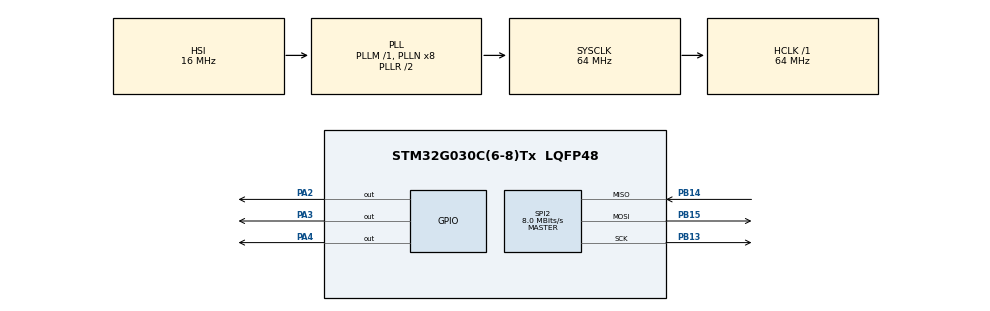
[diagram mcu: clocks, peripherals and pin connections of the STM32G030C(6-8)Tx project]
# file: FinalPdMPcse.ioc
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Mcu.Family=STM32G0
Mcu.Name=STM32G030C(6-8)Tx
Mcu.Package=LQFP48
PA2.Signal=GPIO_Output
PA3.Signal=GPIO_Output
PA4.Signal=GPIO_Output
PB13.Mode=Full_Duplex_Master
PB13.Signal=SPI2_SCK
PB14.Mode=Full_Duplex_Master
PB14.Signal=SPI2_MISO
PB15.Mode=Full_Duplex_Master
PB15.Signal=SPI2_MOSI
ProjectManager.HeapSize=0x200
ProjectManager.StackSize=0x400
ProjectManager.TargetToolchain=STM32CubeIDE
RCC.ADCFreq_Value=64000000
RCC.AHBFreq_Value=64000000
RCC.CortexFreq_Value=64000000
RCC.EXTERNAL_CLOCK_VALUE=12288000
RCC.HCLKFreq_Value=64000000
RCC.HSE_VALUE=8000000
RCC.HSI_VALUE=16000000
RCC.LSE_VALUE=32768
RCC.SYSCLKFreq_VALUE=64000000
RCC.SYSCLKSource=RCC_SYSCLKSOURCE_PLLCLK
RCC.VCOOutputFreq_Value=128000000
SPI2.BaudRatePrescaler=SPI_BAUDRATEPRESCALER_8
SPI2.CLKPolarity=SPI_POLARITY_LOW
SPI2.CalculateBaudRate=8.0 MBits/s
SPI2.Direction=SPI_DIRECTION_2LINES
SPI2.Mode=SPI_MODE_MASTER
SPI2.VirtualType=VM_MASTER
board=custom

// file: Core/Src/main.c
/* USER CODE BEGIN Header */
/**
  ******************************************************************************
  * @file           : main.c
  * @brief          : Main program body
  ******************************************************************************
  * @attention
  *
  * Copyright (c) 2023 STMicroelectronics.
  * All rights reserved.
  *
  * This software is licensed under terms that can be found in the LICENSE file
  * in the root directory of this software component.
  * If no LICENSE file comes with this software, it is provided AS-IS.
  *
  ******************************************************************************
  */
/* USER CODE END Header */
#include "main.h"

/* USER CODE BEGIN Includes */
#include "MCP3913.h"
#include "DELAY.h"

/* USER CODE END Includes */

/* USER CODE BEGIN PTD */

typedef enum{
  INIT_ADCS,
  ADQUIRE_SAMPLES_FROM_ONE_ADC,
  SWITCH_TO_NEXT_ADC,
  WAIT_FOR_RESTART,
} adc_fsm_state_t;

/* USER CODE END PTD */

/* USER CODE BEGIN PD */
#define MCP3913_ADC_QTY 3
#define ADC_FSM_RESTART_DELAY 1

/* USER CODE END PD */

/* USER CODE BEGIN PV */
static MCP3913_handle_t adc[MCP3913_ADC_QTY]; // Array de estructuras de configuracion de ADC MCP3913
static int32_t adc_values[MCP3913_ADC_QTY][MCP3913_ADC_CHANNELS_QTY]; // Matriz donde se guardaron los valores leidos.
static adc_fsm_state_t adc_fsm_state; // Variable que indica el estado de la MEF de adquisicion de ADCs
static uint8_t adc_being_adquired; // Variable que indica que ADC esta siendo adquirido
static delay_t adc_delay; // Variable para manejar el delay de la MEF de ADC

/* USER CODE END PV */

void SystemClock_Config(void);
static void MX_GPIO_Init(void);
static void MX_SPI2_Init(void);
/* USER CODE BEGIN PFP */
/*
 * @brief Inicializa la maquina de estados del manejo de los adc
 */
void ADC_FSM_Init();
/*
 * @brief Actualiza la maquina de estados del manejo de los adc
 */
void ADC_FSM_Update();

/* USER CODE END PFP */

int main(void)
{

  /* MCU Configuration--------------------------------------------------------*/

  /* Reset of all peripherals, Initializes the Flash interface and the Systick. */
  HAL_Init();

  /* Configure the system clock */
  SystemClock_Config();

  /* Initialize all configured peripherals */
  MX_GPIO_Init();
  MX_SPI2_Init();
  /* USER CODE BEGIN 2 */
  ADC_FSM_Init(); // Inicializo maquina de estados de ADC

  /* USER CODE END 2 */

  /* Infinite loop */
  while (1)
  {

    /* USER CODE BEGIN 3 */
    ADC_FSM_Update(); // Actualizo la maquina de estados de adquisicion
  }
  /* USER CODE END 3 */
}

void SystemClock_Config(void)
{
  RCC_OscInitTypeDef RCC_OscInitStruct = {0};
  RCC_ClkInitTypeDef RCC_ClkInitStruct = {0};

  /** Configure the main internal regulator output voltage
  */
  HAL_PWREx_ControlVoltageScaling(PWR_REGULATOR_VOLTAGE_SCALE1);

  /** Initializes the RCC Oscillators according to the specified parameters
  * in the RCC_OscInitTypeDef structure.
  */
  RCC_OscInitStruct.OscillatorType = RCC_OSCILLATORTYPE_HSI;
  RCC_OscInitStruct.HSIState = RCC_HSI_ON;
  RCC_OscInitStruct.HSIDiv = RCC_HSI_DIV1;
  RCC_OscInitStruct.HSICalibrationValue = RCC_HSICALIBRATION_DEFAULT;
  RCC_OscInitStruct.PLL.PLLState = RCC_PLL_ON;
  RCC_OscInitStruct.PLL.PLLSource = RCC_PLLSOURCE_HSI;
  RCC_OscInitStruct.PLL.PLLM = RCC_PLLM_DIV1;
  RCC_OscInitStruct.PLL.PLLN = 8;
  RCC_OscInitStruct.PLL.PLLP = RCC_PLLP_DIV2;
  RCC_OscInitStruct.PLL.PLLR = RCC_PLLR_DIV2;
  if (HAL_RCC_OscConfig(&RCC_OscInitStruct) != HAL_OK)
  {
    Error_Handler();
  }

  /** Initializes the CPU, AHB and APB buses clocks
  */
  RCC_ClkInitStruct.ClockType = RCC_CLOCKTYPE_HCLK|RCC_CLOCKTYPE_SYSCLK
                              |RCC_CLOCKTYPE_PCLK1;
  RCC_ClkInitStruct.SYSCLKSource = RCC_SYSCLKSOURCE_PLLCLK;
  RCC_ClkInitStruct.AHBCLKDivider = RCC_SYSCLK_DIV1;
  RCC_ClkInitStruct.APB1CLKDivider = RCC_HCLK_DIV1;

  if (HAL_RCC_ClockConfig(&RCC_ClkInitStruct, FLASH_LATENCY_2) != HAL_OK)
  {
    Error_Handler();
  }
}

static void MX_SPI2_Init(void)
{

  LL_SPI_InitTypeDef SPI_InitStruct = {0};

  LL_GPIO_InitTypeDef GPIO_InitStruct = {0};

  /* Peripheral clock enable */
  LL_APB1_GRP1_EnableClock(LL_APB1_GRP1_PERIPH_SPI2);

  LL_IOP_GRP1_EnableClock(LL_IOP_GRP1_PERIPH_GPIOB);
  /**SPI2 GPIO Configuration
  PB13   ------> SPI2_SCK
  PB14   ------> SPI2_MISO
  PB15   ------> SPI2_MOSI
  */
  GPIO_InitStruct.Pin = LL_GPIO_PIN_13;
  GPIO_InitStruct.Mode = LL_GPIO_MODE_ALTERNATE;
  GPIO_InitStruct.Speed = LL_GPIO_SPEED_FREQ_LOW;
  GPIO_InitStruct.OutputType = LL_GPIO_OUTPUT_PUSHPULL;
  GPIO_InitStruct.Pull = LL_GPIO_PULL_NO;
  GPIO_InitStruct.Alternate = LL_GPIO_AF_0;
  LL_GPIO_Init(GPIOB, &GPIO_InitStruct);

  GPIO_InitStruct.Pin = LL_GPIO_PIN_14;
  GPIO_InitStruct.Mode = LL_GPIO_MODE_ALTERNATE;
  GPIO_InitStruct.Speed = LL_GPIO_SPEED_FREQ_LOW;
  GPIO_InitStruct.OutputType = LL_GPIO_OUTPUT_PUSHPULL;
  GPIO_InitStruct.Pull = LL_GPIO_PULL_NO;
  GPIO_InitStruct.Alternate = LL_GPIO_AF_0;
  LL_GPIO_Init(GPIOB, &GPIO_InitStruct);

  GPIO_InitStruct.Pin = LL_GPIO_PIN_15;
  GPIO_InitStruct.Mode = LL_GPIO_MODE_ALTERNATE;
  GPIO_InitStruct.Speed = LL_GPIO_SPEED_FREQ_LOW;
  GPIO_InitStruct.OutputType = LL_GPIO_OUTPUT_PUSHPULL;
  GPIO_InitStruct.Pull = LL_GPIO_PULL_NO;
  GPIO_InitStruct.Alternate = LL_GPIO_AF_0;
  LL_GPIO_Init(GPIOB, &GPIO_InitStruct);

  /* SPI2 parameter configuration*/
  SPI_InitStruct.TransferDirection = LL_SPI_FULL_DUPLEX;
  SPI_InitStruct.Mode = LL_SPI_MODE_MASTER;
  SPI_InitStruct.DataWidth = LL_SPI_DATAWIDTH_8BIT;
  SPI_InitStruct.ClockPolarity = LL_SPI_POLARITY_LOW;
  SPI_InitStruct.ClockPhase = LL_SPI_PHASE_1EDGE;
  SPI_InitStruct.NSS = LL_SPI_NSS_SOFT;
  SPI_InitStruct.BaudRate = LL_SPI_BAUDRATEPRESCALER_DIV8;
  SPI_InitStruct.BitOrder = LL_SPI_MSB_FIRST;
  SPI_InitStruct.CRCCalculation = LL_SPI_CRCCALCULATION_DISABLE;
  SPI_InitStruct.CRCPoly = 7;
  LL_SPI_Init(SPI2, &SPI_InitStruct);
  LL_SPI_SetStandard(SPI2, LL_SPI_PROTOCOL_MOTOROLA);
  LL_SPI_EnableNSSPulseMgt(SPI2);
  /* USER CODE BEGIN SPI2_Init 2 */

  // Quater threshold for 1 byte / 8 bits
  LL_SPI_SetRxFIFOThreshold(SPI2, LL_SPI_RX_FIFO_TH_QUARTER);

  // Enable SPI
  LL_SPI_Enable(SPI2);

  // Wait until SPI is ready
  while(LL_SPI_IsActiveFlag_BSY(SPI2));

  /* USER CODE END SPI2_Init 2 */

}

static void MX_GPIO_Init(void)
{
  LL_GPIO_InitTypeDef GPIO_InitStruct = {0};

  /* GPIO Ports Clock Enable */
  LL_IOP_GRP1_EnableClock(LL_IOP_GRP1_PERIPH_GPIOA);
  LL_IOP_GRP1_EnableClock(LL_IOP_GRP1_PERIPH_GPIOB);

  /**/
  LL_GPIO_ResetOutputPin(GPIOA, LL_GPIO_PIN_2);

  /**/
  LL_GPIO_ResetOutputPin(GPIOA, LL_GPIO_PIN_3);

  /**/
  LL_GPIO_ResetOutputPin(GPIOA, LL_GPIO_PIN_4);

  /**/
  GPIO_InitStruct.Pin = LL_GPIO_PIN_2;
  GPIO_InitStruct.Mode = LL_GPIO_MODE_OUTPUT;
  GPIO_InitStruct.Speed = LL_GPIO_SPEED_FREQ_LOW;
  GPIO_InitStruct.OutputType = LL_GPIO_OUTPUT_PUSHPULL;
  GPIO_InitStruct.Pull = LL_GPIO_PULL_NO;
  LL_GPIO_Init(GPIOA, &GPIO_InitStruct);

  /**/
  GPIO_InitStruct.Pin = LL_GPIO_PIN_3;
  GPIO_InitStruct.Mode = LL_GPIO_MODE_OUTPUT;
  GPIO_InitStruct.Speed = LL_GPIO_SPEED_FREQ_LOW;
  GPIO_InitStruct.OutputType = LL_GPIO_OUTPUT_PUSHPULL;
  GPIO_InitStruct.Pull = LL_GPIO_PULL_NO;
  LL_GPIO_Init(GPIOA, &GPIO_InitStruct);

  /**/
  GPIO_InitStruct.Pin = LL_GPIO_PIN_4;
  GPIO_InitStruct.Mode = LL_GPIO_MODE_OUTPUT;
  GPIO_InitStruct.Speed = LL_GPIO_SPEED_FREQ_LOW;
  GPIO_InitStruct.OutputType = LL_GPIO_OUTPUT_PUSHPULL;
  GPIO_InitStruct.Pull = LL_GPIO_PULL_NO;
  LL_GPIO_Init(GPIOA, &GPIO_InitStruct);

}

/* USER CODE BEGIN 4 */

/*
 * @brief Inicializa la maquina de estados del manejo de los adc
 */
void ADC_FSM_Init() {
  adc_fsm_state = INIT_ADCS; // La MEF inicializa para configurar los ADC
  adc_being_adquired = 0; // Comienza con el ADC0
  DELAY_Init(&adc_delay, ADC_FSM_RESTART_DELAY); // Inicializo el delay
}

/*
 * @brief Actualiza la maquina de estados del manejo de los adc
 */
void ADC_FSM_Update() {
  switch (adc_fsm_state) {
    case INIT_ADCS:
      // Seteo los chip select en uno (por defecto el MX_GPIO_Init generado por el STMCUBE los setea en cero)
      LL_GPIO_SetOutputPin(GPIOA, LL_GPIO_PIN_2);
      LL_GPIO_SetOutputPin(GPIOA, LL_GPIO_PIN_3);
      LL_GPIO_SetOutputPin(GPIOA, LL_GPIO_PIN_4);
      HAL_Delay(1); // Fuerzo un delay de 1ms para reiniciar la interfaz SPI de los ADCs. No implemento MEF para el retardo porque se ejecuta una sola vez al inicio y nunca más.

      MCP3913_Load_Default_Config(&adc[0]); // Cargo valores por defecto en la estrucutra de configuracion del ADC 0
      adc[0].spi_handle = (void *)SPI2;   // SPI con el que va a trabajar
      adc[0].spi_cs_port = (void *)GPIOA;   // Puerto del CS
      adc[0].spi_cs_pin = LL_GPIO_PIN_2;       // Pin del CS
      adc[0].dev_address = MCP3913_DEFAULT_DEV_ADDRESS; // Address por defecto del ADC (especificada por el fabricante)
      MCP3913_Init(&adc[0]); // Inicializo ADC 0

      MCP3913_Load_Default_Config(&adc[1]); // Cargo valores por defecto en la estrucutra de configuracion del ADC 1
      adc[1].spi_handle = (void *)SPI2;   // SPI con el que va a trabajar
      adc[1].spi_cs_port = (void *)GPIOA;   // Puerto del CS
      adc[1].spi_cs_pin = LL_GPIO_PIN_3;       // Pin del CS
      adc[1].dev_address = MCP3913_DEFAULT_DEV_ADDRESS; // Address por defecto del ADC (especificada por el fabricante)
      MCP3913_Init(&adc[1]); // Inicializo ADC 1

      MCP3913_Load_Default_Config(&adc[2]); // Cargo valores por defecto en la estrucutra de configuracion del ADC 2
      adc[2].spi_handle = (void *)SPI2;   // SPI con el que va a trabajar
      adc[2].spi_cs_port = (void *)GPIOA;   // Puerto del CS
      adc[2].spi_cs_pin = LL_GPIO_PIN_4;       // Pin del CS
      adc[2].dev_address = MCP3913_DEFAULT_DEV_ADDRESS; // Address por defecto del ADC (especificada por el fabricante)
      MCP3913_Init(&adc[2]); // Inicializo ADC 2

      adc_fsm_state = ADQUIRE_SAMPLES_FROM_ONE_ADC;
      break;
    case ADQUIRE_SAMPLES_FROM_ONE_ADC:
      // Leo todos los canales de un solo ADC
      MCP3913_Read_All_Channels(&adc[adc_being_adquired], adc_values[adc_being_adquired]); // Leo todos los canales de un ADC

      adc_fsm_state = SWITCH_TO_NEXT_ADC;
      break;
    case SWITCH_TO_NEXT_ADC:
      // Cambio de ADC
      adc_being_adquired = (adc_being_adquired + 1) % MCP3913_ADC_QTY; // Cambio al siguiente ADC

      if(adc_being_adquired == 0) {
        adc_fsm_state = WAIT_FOR_RESTART;
      }
      else {
        adc_fsm_state = ADQUIRE_SAMPLES_FROM_ONE_ADC;
      }
      break;
    case WAIT_FOR_RESTART:
      // Espero (no bloqueante) antes de reiniciar la consulta de los ADC.
      if(DELAY_Read(&adc_delay)) {
        adc_fsm_state = ADQUIRE_SAMPLES_FROM_ONE_ADC;
      }
      break;
    default:
      // Si la MEF cae en esta condicion no esperada, reinicializo la MEF.
      adc_fsm_state = INIT_ADCS;
      break;
    }
}

/* USER CODE END 4 */

void Error_Handler(void)
{
  __disable_irq();
  while (1)
  {
  }
}
